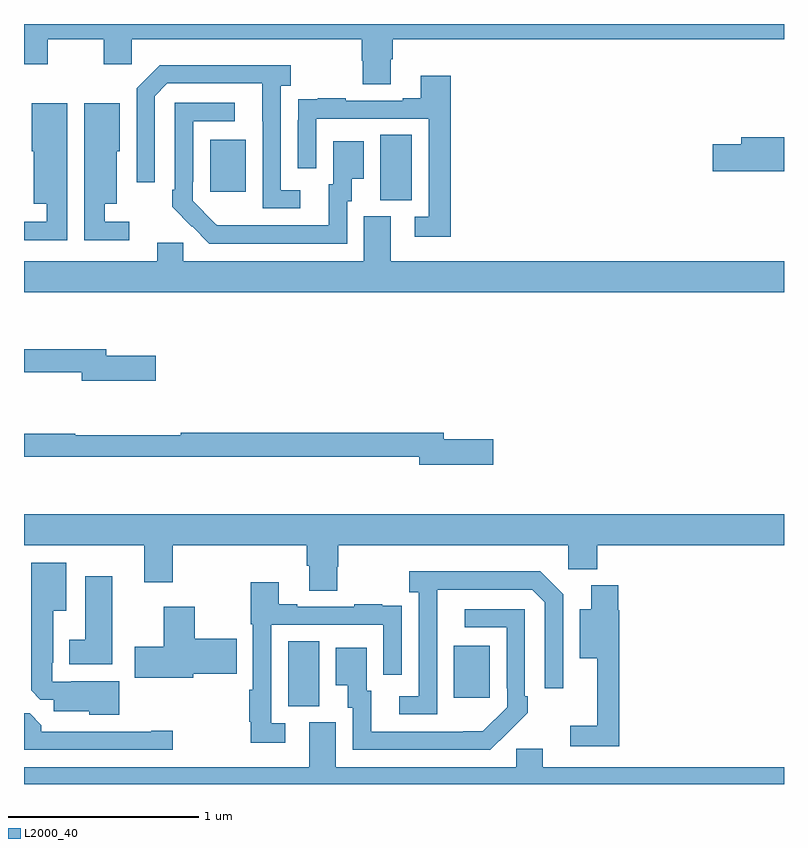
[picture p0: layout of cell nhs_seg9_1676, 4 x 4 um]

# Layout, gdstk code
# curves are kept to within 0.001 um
import gdstk
lib = gdstk.Library(unit=1e-6, precision=1e-09)
def R(c, l, rs):  # rectangles x0, y0, x1, y1
    for r in rs: c.add(gdstk.rectangle(r[:2], r[2:], *l))
def P(c, l, *ps):  # polygons
    for p in ps: c.add(gdstk.Polygon(p, *l))
L2000_40 = (2000, 40)

nhs_seg9_1676 = lib.new_cell('nhs_seg9_1676')
R(nhs_seg9_1676, L2000_40, [(206.39,1192.909,206.554,1193.252), (207.263,1192.953,207.451,1193.227), (206.876,1195.573,207.04,1195.916), (205.979,1195.617,206.167,1195.891)])
P(nhs_seg9_1676, L2000_40, [(206.929,1196.314),(206.942,1196.314),(206.942,1196.42),(209,1196.42),(209,1196.5),(205,1196.5),(205,1196.289),(205.125,1196.289),(205.125,1196.42),(205.42,1196.42),(205.42,1196.289),(205.566,1196.289),(205.566,1196.42),(206.777,1196.42),(206.777,1196.307),(206.782,1196.307),(206.782,1196.182),(206.929,1196.182)],
  [(206.455,1195.626),(206.352,1195.626),(206.352,1196.174),(206.404,1196.174),(206.404,1196.284),(205.714,1196.284),(205.593,1196.163),(205.593,1195.668),(205.689,1195.668),(205.689,1196.121),(205.755,1196.187),(206.255,1196.187),(206.256,1195.53),(206.455,1195.53)],
  [(207.245,1196.227),(207.089,1196.227),(207.089,1196.11),(206.993,1196.11),(206.993,1196.097),(206.693,1196.097),(206.693,1196.11),(206.545,1196.11),(206.545,1196.103),(206.443,1196.103),(206.443,1195.994),(206.442,1195.994),(206.442,1195.74),(206.538,1195.74),(206.538,1196.001),(207.129,1196.001),(207.129,1195.485),(207.057,1195.485),(207.057,1195.38),(207.245,1195.38)],
  [(206.7,1195.566),(206.725,1195.566),(206.725,1195.685),(206.788,1195.685),(206.788,1195.882),(206.627,1195.882),(206.627,1195.656),(206.603,1195.656),(206.603,1195.44),(206.016,1195.441),(205.887,1195.569),(205.887,1195.669),(205.89,1195.669),(205.89,1195.989),(206.11,1195.989),(206.11,1196.085),(205.794,1196.085),(205.794,1195.627),(205.779,1195.627),(205.779,1195.539),(205.976,1195.344),(206.7,1195.344)],
  [(205.227,1195.657),(205.228,1195.657),(205.228,1196.083),(205.04,1196.083),(205.04,1195.83),(205.052,1195.83),(205.052,1195.553),(205.119,1195.553),(205.119,1195.458),(205,1195.458),(205,1195.362),(205.227,1195.362)],
  [(205.555,1195.458),(205.426,1195.458),(205.426,1195.553),(205.489,1195.553),(205.489,1195.83),(205.504,1195.83),(205.504,1196.083),(205.316,1196.083),(205.316,1195.657),(205.317,1195.657),(205.317,1195.362),(205.555,1195.362)],
  [(209,1195.904),(208.775,1195.904),(208.775,1195.868),(208.626,1195.868),(208.626,1195.726),(209,1195.726)],
  [(209,1195.252),(206.929,1195.252),(206.929,1195.488),(206.789,1195.488),(206.789,1195.252),(205.839,1195.252),(205.839,1195.35),(205.7,1195.35),(205.7,1195.252),(205,1195.252),(205,1195.088),(209,1195.088)],
  [(205.693,1194.753),(205.432,1194.753),(205.432,1194.787),(205,1194.787),(205,1194.666),(205.304,1194.666),(205.304,1194.623),(205.693,1194.623)],
  [(207.469,1194.314),(207.208,1194.314),(207.208,1194.35),(205.826,1194.35),(205.826,1194.335),(205.27,1194.335),(205.27,1194.343),(205,1194.343),(205,1194.222),(207.08,1194.222),(207.08,1194.179),(207.469,1194.179)],
  [(206.649,1193.643),(206.654,1193.643),(206.654,1193.756),(207.864,1193.756),(207.864,1193.63),(208.016,1193.63),(208.016,1193.756),(209,1193.756),(209,1193.92),(205,1193.92),(205,1193.756),(205.634,1193.756),(205.634,1193.562),(205.782,1193.562),(205.782,1193.756),(206.489,1193.756),(206.489,1193.65),(206.501,1193.65),(206.501,1193.518),(206.649,1193.518)],
  [(205.501,1193.041),(205.249,1193.041),(205.249,1193.037),(205.149,1193.037),(205.149,1193.137),(205.153,1193.137),(205.153,1193.411),(205.222,1193.411),(205.222,1193.665),(205.037,1193.665),(205.037,1192.993),(205.086,1192.944),(205.157,1192.944),(205.157,1192.883),(205.344,1192.883),(205.344,1192.865),(205.501,1192.865)],
  [(207.174,1193.323),(207.175,1193.523),(207.675,1193.523),(207.741,1193.457),(207.741,1193.004),(207.837,1193.004),(207.837,1193.499),(207.716,1193.62),(207.027,1193.62),(207.027,1193.51),(207.078,1193.51),(207.078,1192.962),(206.976,1192.962),(206.976,1192.866),(207.174,1192.866)],
  [(205.465,1193.593),(205.322,1193.593),(205.322,1193.26),(205.238,1193.26),(205.238,1193.129),(205.465,1193.129)],
  [(206.374,1192.821),(206.301,1192.821),(206.301,1193.337),(206.892,1193.337),(206.892,1193.076),(206.988,1193.076),(206.988,1193.33),(206.987,1193.33),(206.987,1193.439),(206.885,1193.439),(206.885,1193.446),(206.737,1193.446),(206.737,1193.433),(206.437,1193.433),(206.437,1193.446),(206.341,1193.446),(206.341,1193.563),(206.193,1193.563),(206.193,1193.34),(206.205,1193.34),(206.205,1192.997),(206.185,1192.997),(206.185,1192.828),(206.193,1192.828),(206.193,1192.716),(206.374,1192.716)],
  [(208.133,1193.415),(208.127,1193.415),(208.127,1193.545),(207.986,1193.545),(207.986,1193.419),(207.926,1193.419),(207.926,1193.162),(208.016,1193.162),(208.016,1192.807),(207.876,1192.807),(207.876,1192.698),(208.133,1192.698)],
  [(205.891,1193.081),(206.119,1193.081),(206.119,1193.264),(205.899,1193.264),(205.899,1193.434),(205.736,1193.434),(205.736,1193.223),(205.584,1193.223),(205.584,1193.06),(205.891,1193.06)],
  [(207.545,1192.771),(207.546,1192.77),(207.651,1192.875),(207.651,1192.963),(207.636,1192.963),(207.636,1193.421),(207.321,1193.421),(207.321,1193.325),(207.54,1193.325),(207.54,1193.005),(207.543,1193.005),(207.543,1192.905),(207.415,1192.777),(206.827,1192.776),(206.827,1192.992),(206.803,1192.992),(206.803,1193.218),(206.642,1193.218),(206.642,1193.021),(206.705,1193.021),(206.705,1192.902),(206.73,1192.902),(206.73,1192.68),(207.454,1192.68)],
  [(205.783,1192.781),(205.67,1192.781),(205.67,1192.776),(205.091,1192.776),(205.091,1192.81),(205.029,1192.872),(205,1192.872),(205,1192.68),(205.783,1192.68)],
  [(209,1192.588),(207.73,1192.588),(207.73,1192.686),(207.591,1192.686),(207.591,1192.588),(206.641,1192.588),(206.641,1192.824),(206.501,1192.824),(206.501,1192.588),(205,1192.588),(205,1192.5),(209,1192.5)])

lib.write_gds('nhs_seg9_1676.gds')
